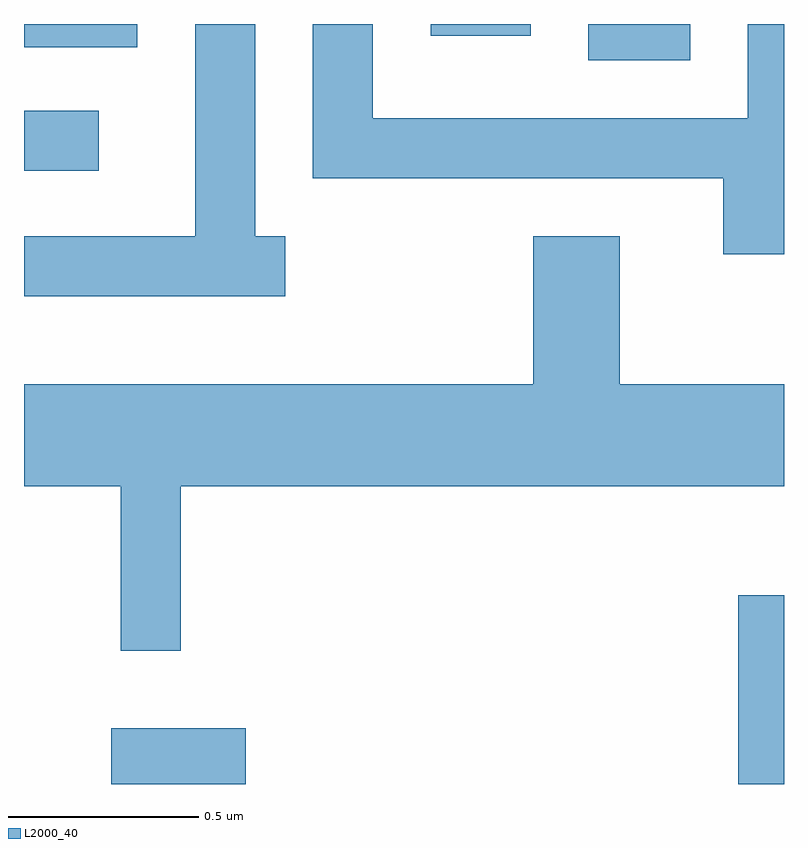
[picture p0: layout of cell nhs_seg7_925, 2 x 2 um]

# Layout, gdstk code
import gdstk
lib = gdstk.Library(unit=1e-6, precision=1e-09)
def R(c, l, rs):  # rectangles x0, y0, x1, y1
    for r in rs: c.add(gdstk.rectangle(r[:2], r[2:], *l))
def P(c, l, *ps):  # polygons
    for p in ps: c.add(gdstk.Polygon(p, *l))
L2000_40 = (2000, 40)

nhs_seg7_925 = lib.new_cell('nhs_seg7_925')
R(nhs_seg7_925, L2000_40, [(191.841,1771.252,192.194,1771.399), (193.491,1771.252,193.611,1771.749), (191.611,1772.866,191.808,1773.024), (193.096,1773.156,193.364,1773.252), (191.611,1773.191,191.909,1773.252), (192.681,1773.221,192.944,1773.252)])
P(nhs_seg7_925, L2000_40, [(192.298,1772.694),(192.219,1772.694),(192.219,1773.252),(192.061,1773.252),(192.061,1772.694),(191.611,1772.694),(191.611,1772.536),(192.298,1772.536)],
  [(193.611,1773.252),(193.516,1773.252),(193.516,1773.004),(192.529,1773.004),(192.529,1773.252),(192.371,1773.252),(192.371,1772.846),(193.451,1772.846),(193.451,1772.646),(193.611,1772.646)],
  [(192.024,1772.036),(193.611,1772.036),(193.611,1772.304),(193.179,1772.304),(193.179,1772.694),(192.951,1772.694),(192.951,1772.304),(191.611,1772.304),(191.611,1772.036),(191.866,1772.036),(191.866,1771.603),(192.024,1771.603)])

lib.write_gds('nhs_seg7_925.gds')
